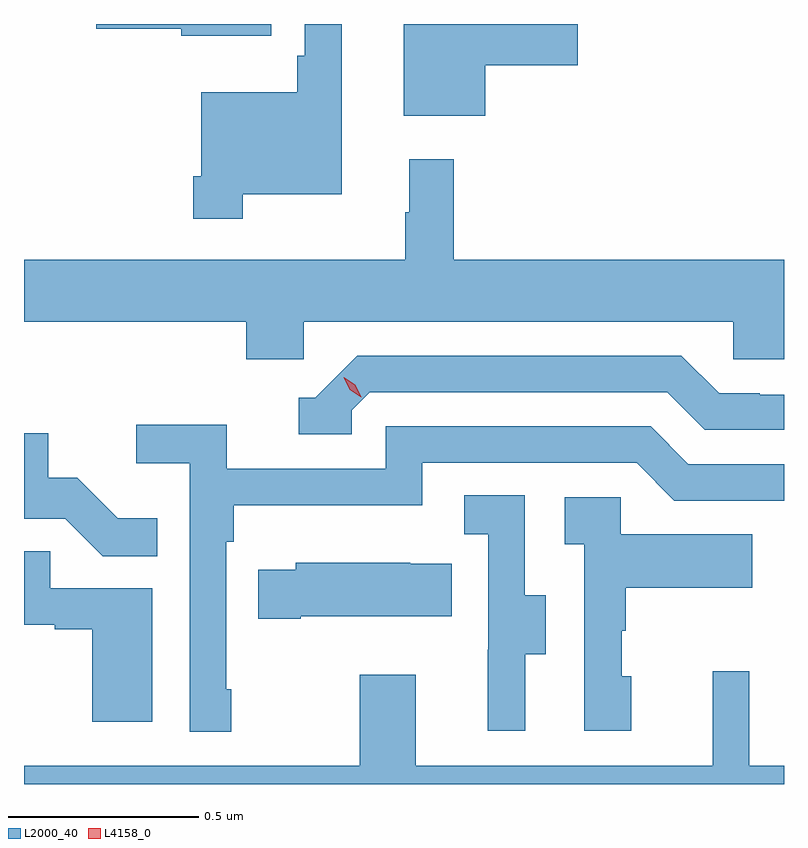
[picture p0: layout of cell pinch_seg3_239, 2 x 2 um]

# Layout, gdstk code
import gdstk
lib = gdstk.Library(unit=1e-6, precision=1e-09)
def P(c, l, *ps):  # polygons
    for p in ps: c.add(gdstk.Polygon(p, *l))
L2000_40 = (2000, 40)
L4158_0 = (4158, 0)

pinch_seg3_239 = lib.new_cell('pinch_seg3_239')
P(pinch_seg3_239, L2000_40, [(911.632,741.551),(911.875,741.551),(911.875,741.66),(911.417,741.66),(911.417,741.419),(911.632,741.419)],
  [(910.993,741.212),(911.254,741.212),(911.254,741.66),(911.157,741.66),(911.157,741.577),(911.137,741.577),(911.137,741.481),(910.884,741.481),(910.884,741.259),(910.864,741.259),(910.864,741.147),(910.993,741.147)],
  [(911.068,741.66),(910.608,741.66),(910.608,741.647),(910.832,741.647),(910.832,741.629),(911.068,741.629)],
  [(910.418,740.876),(911.003,740.876),(911.003,740.778),(911.154,740.778),(911.154,740.876),(912.285,740.876),(912.285,740.778),(912.418,740.778),(912.418,741.04),(911.549,741.04),(911.549,741.304),(911.432,741.304),(911.432,741.164),(911.421,741.164),(911.421,741.04),(910.418,741.04)],
  [(911.28,740.643),(911.328,740.691),(912.111,740.691),(912.21,740.592),(912.418,740.592),(912.418,740.685),(912.354,740.685),(912.354,740.688),(912.247,740.688),(912.148,740.787),(911.295,740.787),(911.184,740.676),(911.141,740.676),(911.141,740.58),(911.28,740.58)],
  [(910.963,739.909),(910.95,739.909),(910.95,740.297),(910.97,740.297),(910.97,740.393),(911.466,740.393),(911.466,740.505),(912.03,740.505),(912.129,740.406),(912.418,740.406),(912.418,740.502),(912.166,740.502),(912.067,740.601),(911.37,740.601),(911.37,740.49),(910.952,740.49),(910.952,740.606),(910.713,740.606),(910.713,740.504),(910.854,740.504),(910.854,739.797),(910.963,739.797)],
  [(910.769,740.359),(910.665,740.359),(910.558,740.466),(910.482,740.466),(910.482,740.583),(910.418,740.583),(910.418,740.358),(910.527,740.358),(910.625,740.26),(910.769,740.26)],
  [(911.737,740.002),(911.791,740.002),(911.791,740.157),(911.736,740.157),(911.736,740.42),(911.577,740.42),(911.577,740.317),(911.64,740.317),(911.64,740.013),(911.639,740.013),(911.639,739.8),(911.737,739.8)],
  [(912.016,739.944),(911.991,739.944),(911.991,740.063),(912.001,740.063),(912.001,740.177),(912.335,740.177),(912.335,740.317),(911.988,740.317),(911.988,740.415),(911.841,740.415),(911.841,740.291),(911.892,740.291),(911.892,739.8),(912.016,739.8)],
  [(910.756,740.175),(910.487,740.175),(910.487,740.273),(910.418,740.273),(910.418,740.079),(910.499,740.079),(910.499,740.067),(910.598,740.067),(910.598,739.824),(910.756,739.824)],
  [(911.146,740.102),(911.543,740.102),(911.543,740.239),(911.435,740.239),(911.435,740.242),(911.133,740.242),(911.133,740.224),(911.035,740.224),(911.035,740.095),(911.146,740.095)],
  [(912.418,739.708),(912.327,739.708),(912.327,739.957),(912.23,739.957),(912.23,739.708),(911.449,739.708),(911.449,739.948),(911.302,739.948),(911.302,739.708),(910.418,739.708),(910.418,739.66),(912.418,739.66)])
P(pinch_seg3_239, L4158_0, [(911.305,740.678),(911.275,740.698),(911.259,740.731),(911.259,740.731),(911.259,740.731),(911.29,740.711),(911.306,740.678),(911.306,740.678)])

lib.write_gds('pinch_seg3_239.gds')
